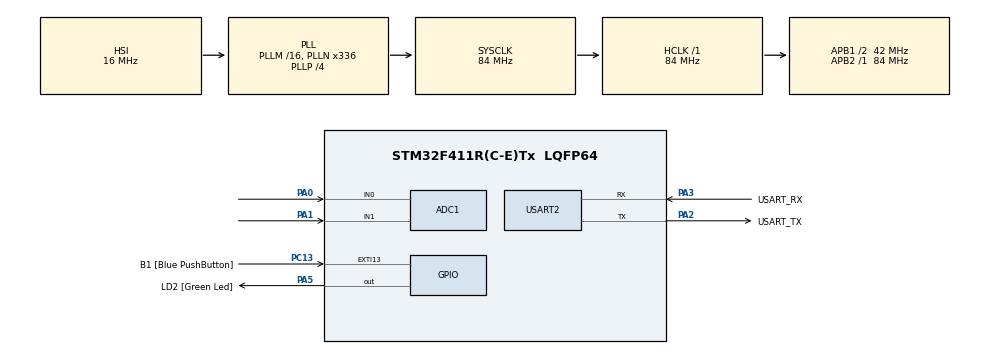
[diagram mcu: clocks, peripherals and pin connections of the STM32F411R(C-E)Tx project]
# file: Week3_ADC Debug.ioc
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ADC1.Channel-0\#ChannelRegularConversion=ADC_CHANNEL_1
ADC1.NbrOfConversionFlag=1
ADC1.Rank-0\#ChannelRegularConversion=1
ADC1.SamplingTime-0\#ChannelRegularConversion=ADC_SAMPLETIME_3CYCLES
ADC1.master=1
Mcu.Family=STM32F4
Mcu.Name=STM32F411R(C-E)Tx
Mcu.Package=LQFP64
NVIC.PriorityGroup=NVIC_PRIORITYGROUP_0
PA0-WKUP.Signal=ADCx_IN0
PA1.Signal=ADCx_IN1
PA13.GPIO_Label=TMS
PA13.Mode=Serial_Wire
PA13.Signal=SYS_JTMS-SWDIO
PA14.GPIO_Label=TCK
PA14.Mode=Serial_Wire
PA14.Signal=SYS_JTCK-SWCLK
PA2.GPIO_Label=USART_TX
PA2.Mode=Asynchronous
PA2.Signal=USART2_TX
PA3.GPIO_Label=USART_RX
PA3.Mode=Asynchronous
PA3.Signal=USART2_RX
PA5.GPIO_Label=LD2 [Green Led]
PA5.Signal=GPIO_Output
PB3.GPIO_Label=SWO
PB3.Signal=SYS_JTDO-SWO
PC13-ANTI_TAMP.GPIO_Label=B1 [Blue PushButton]
PC13-ANTI_TAMP.GPIO_ModeDefaultEXTI=GPIO_MODE_IT_FALLING
PC13-ANTI_TAMP.Signal=GPXTI13
PC14-OSC32_IN.Mode=LSE-External-Oscillator
PC14-OSC32_IN.Signal=RCC_OSC32_IN
PC15-OSC32_OUT.Mode=LSE-External-Oscillator
PC15-OSC32_OUT.Signal=RCC_OSC32_OUT
PH0\ -\ OSC_IN.Mode=HSE-External-Clock-Source
PH0\ -\ OSC_IN.Signal=RCC_OSC_IN
PH1\ -\ OSC_OUT.Mode=HSE-External-Clock-Source
PH1\ -\ OSC_OUT.Signal=RCC_OSC_OUT
ProjectManager.HeapSize=0x200
ProjectManager.StackSize=0x400
ProjectManager.TargetToolchain=STM32CubeIDE
RCC.48MHZClocksFreq_Value=84000000
RCC.AHBFreq_Value=84000000
RCC.APB1CLKDivider=RCC_HCLK_DIV2
RCC.APB1Freq_Value=42000000
RCC.APB1TimFreq_Value=84000000
RCC.APB2Freq_Value=84000000
RCC.APB2TimFreq_Value=84000000
RCC.CortexFreq_Value=84000000
RCC.FLatency-AdvancedSettings=FLASH_LATENCY_2
RCC.HCLKFreq_Value=84000000
RCC.HSE_VALUE=8000000
RCC.HSI_VALUE=16000000
RCC.PLLN=336
RCC.PLLP=RCC_PLLP_DIV4
RCC.SYSCLKFreq_VALUE=84000000
RCC.SYSCLKSource=RCC_SYSCLKSOURCE_PLLCLK
RCC.VCOOutputFreq_Value=336000000
SH.ADCx_IN0.0=ADC1_IN0,IN0
SH.ADCx_IN1.0=ADC1_IN1,IN1
USART2.VirtualMode=VM_ASYNC
VP_ADC1_TempSens_Input.Mode=IN-TempSens
board=NUCLEO-F411RE

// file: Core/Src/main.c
/* USER CODE BEGIN Header */
/**
 ******************************************************************************
 * @file           : main.c
 * @brief          : Main program body
 ******************************************************************************
 * @attention
 *
 * <h2><center>&copy; Copyright (c) 2021 STMicroelectronics.
 * All rights reserved.</center></h2>
 *
 * This software component is licensed by ST under BSD 3-Clause license,
 * the "License"; You may not use this file except in compliance with the
 * License. You may obtain a copy of the License at:
 *                        opensource.org/licenses/BSD-3-Clause
 *
 ******************************************************************************
 */
/* USER CODE END Header */
#include "main.h"

ADC_HandleTypeDef hadc1;

UART_HandleTypeDef huart2;

/* USER CODE BEGIN PV */

typedef struct {
	ADC_ChannelConfTypeDef Config;
	uint32_t Data;
} ADCStructure;

ADCStructure ADCChannel[3] = {0};

///////////////
uint8_t ADCMode = 0;
uint16_t StateButton[2] = {0};
uint32_t TimeStamp = 0;
float ADCOutputConverted = 0;

////////////////

/* USER CODE END PV */

void SystemClock_Config(void);
static void MX_GPIO_Init(void);
static void MX_USART2_UART_Init(void);
static void MX_ADC1_Init(void);
/* USER CODE BEGIN PFP */
void ACDPollingMethodInit();	// init
void ADCPollingMethodUpdate();  // Read ADC From 3 Source(In0,In1,Tmp)
/* USER CODE END PFP */

int main(void) {

	/* MCU Configuration--------------------------------------------------------*/

	/* Reset of all peripherals, Initializes the Flash interface and the Systick. */
	HAL_Init();

	/* Configure the system clock */
	SystemClock_Config();

	/* Initialize all configured peripherals */
	MX_GPIO_Init();
	MX_USART2_UART_Init();
	MX_ADC1_Init();

	/* Infinite loop */
	while (1) {

		/* USER CODE BEGIN 3 */
		ADCPollingMethodUpdate();
		if (HAL_GetTick() - TimeStamp >= 40) {
			TimeStamp = HAL_GetTick();
			StateButton[0] = HAL_GPIO_ReadPin(GPIOC, GPIO_PIN_13);

			if (StateButton[0] == 0 && StateButton[1] == 1) {
				if (ADCMode == 0) {
					ADCMode = 1;
				} else {
					ADCMode = 0;
				}
			}
			StateButton[1] = StateButton[0];
		}
		if (ADCMode == 0) {

		/*	2^bit , bit = 12 , 2^12 == 4096  float-> 4096.0
			Read Voltage = ADC read          *  Vref / 2^bit */

			ADCOutputConverted = ADCChannel[0].Data * (3.3 / 4096.0) * 1000;
		} else if (ADCMode == 1) {

		/*	from DataSheet stm32f411re -> Avg_Slope = 2.5 mV -> 0.0025V ; V25(Voltage at 25 °C) = 0.76 V
			ADC read Temperature  change Voltage => ADC read * Vref /2^bit
 	 		Temperature(°C) = ((ADC read(V) - V25)/Avg_Slope)+25 */

			ADCOutputConverted = (((ADCChannel[2].Data * (3.3 / 4096.0)) - 0.76)/ 0.0025) + 25;
		}
	}
	/* USER CODE END 3 */
}

void SystemClock_Config(void) {
	RCC_OscInitTypeDef RCC_OscInitStruct = { 0 };
	RCC_ClkInitTypeDef RCC_ClkInitStruct = { 0 };

	/** Configure the main internal regulator output voltage
	 */
	__HAL_RCC_PWR_CLK_ENABLE();
	__HAL_PWR_VOLTAGESCALING_CONFIG(PWR_REGULATOR_VOLTAGE_SCALE1);
	/** Initializes the RCC Oscillators according to the specified parameters
	 * in the RCC_OscInitTypeDef structure.
	 */
	RCC_OscInitStruct.OscillatorType = RCC_OSCILLATORTYPE_HSI;
	RCC_OscInitStruct.HSIState = RCC_HSI_ON;
	RCC_OscInitStruct.HSICalibrationValue = RCC_HSICALIBRATION_DEFAULT;
	RCC_OscInitStruct.PLL.PLLState = RCC_PLL_ON;
	RCC_OscInitStruct.PLL.PLLSource = RCC_PLLSOURCE_HSI;
	RCC_OscInitStruct.PLL.PLLM = 16;
	RCC_OscInitStruct.PLL.PLLN = 336;
	RCC_OscInitStruct.PLL.PLLP = RCC_PLLP_DIV4;
	RCC_OscInitStruct.PLL.PLLQ = 4;
	if (HAL_RCC_OscConfig(&RCC_OscInitStruct) != HAL_OK) {
		Error_Handler();
	}
	/** Initializes the CPU, AHB and APB buses clocks
	 */
	RCC_ClkInitStruct.ClockType = RCC_CLOCKTYPE_HCLK | RCC_CLOCKTYPE_SYSCLK
			| RCC_CLOCKTYPE_PCLK1 | RCC_CLOCKTYPE_PCLK2;
	RCC_ClkInitStruct.SYSCLKSource = RCC_SYSCLKSOURCE_PLLCLK;
	RCC_ClkInitStruct.AHBCLKDivider = RCC_SYSCLK_DIV1;
	RCC_ClkInitStruct.APB1CLKDivider = RCC_HCLK_DIV2;
	RCC_ClkInitStruct.APB2CLKDivider = RCC_HCLK_DIV1;

	if (HAL_RCC_ClockConfig(&RCC_ClkInitStruct, FLASH_LATENCY_2) != HAL_OK) {
		Error_Handler();
	}
}

static void MX_ADC1_Init(void) {

	ADC_ChannelConfTypeDef sConfig = { 0 };

	/** Configure the global features of the ADC (Clock, Resolution, Data Alignment and number of conversion)
	 */
	hadc1.Instance = ADC1;
	hadc1.Init.ClockPrescaler = ADC_CLOCK_SYNC_PCLK_DIV4;
	hadc1.Init.Resolution = ADC_RESOLUTION_12B;
	hadc1.Init.ScanConvMode = DISABLE;
	hadc1.Init.ContinuousConvMode = DISABLE;
	hadc1.Init.DiscontinuousConvMode = DISABLE;
	hadc1.Init.ExternalTrigConvEdge = ADC_EXTERNALTRIGCONVEDGE_NONE;
	hadc1.Init.ExternalTrigConv = ADC_SOFTWARE_START;
	hadc1.Init.DataAlign = ADC_DATAALIGN_RIGHT;
	hadc1.Init.NbrOfConversion = 1;
	hadc1.Init.DMAContinuousRequests = DISABLE;
	hadc1.Init.EOCSelection = ADC_EOC_SINGLE_CONV;
	if (HAL_ADC_Init(&hadc1) != HAL_OK) {
		Error_Handler();
	}
	/** Configure for the selected ADC regular channel its corresponding rank in the sequencer and its sample time.
	 */
	sConfig.Channel = ADC_CHANNEL_1;
	sConfig.Rank = 1;
	sConfig.SamplingTime = ADC_SAMPLETIME_3CYCLES;
	if (HAL_ADC_ConfigChannel(&hadc1, &sConfig) != HAL_OK) {
		Error_Handler();
	}

}

static void MX_USART2_UART_Init(void) {

	huart2.Instance = USART2;
	huart2.Init.BaudRate = 115200;
	huart2.Init.WordLength = UART_WORDLENGTH_8B;
	huart2.Init.StopBits = UART_STOPBITS_1;
	huart2.Init.Parity = UART_PARITY_NONE;
	huart2.Init.Mode = UART_MODE_TX_RX;
	huart2.Init.HwFlowCtl = UART_HWCONTROL_NONE;
	huart2.Init.OverSampling = UART_OVERSAMPLING_16;
	if (HAL_UART_Init(&huart2) != HAL_OK) {
		Error_Handler();
	}

}

static void MX_GPIO_Init(void) {
	GPIO_InitTypeDef GPIO_InitStruct = { 0 };

	/* GPIO Ports Clock Enable */
	__HAL_RCC_GPIOC_CLK_ENABLE();
	__HAL_RCC_GPIOH_CLK_ENABLE();
	__HAL_RCC_GPIOA_CLK_ENABLE();
	__HAL_RCC_GPIOB_CLK_ENABLE();

	/*Configure GPIO pin Output Level */
	HAL_GPIO_WritePin(LD2_GPIO_Port, LD2_Pin, GPIO_PIN_RESET);

	/*Configure GPIO pin : B1_Pin */
	GPIO_InitStruct.Pin = B1_Pin;
	GPIO_InitStruct.Mode = GPIO_MODE_IT_FALLING;
	GPIO_InitStruct.Pull = GPIO_NOPULL;
	HAL_GPIO_Init(B1_GPIO_Port, &GPIO_InitStruct);

	/*Configure GPIO pin : LD2_Pin */
	GPIO_InitStruct.Pin = LD2_Pin;
	GPIO_InitStruct.Mode = GPIO_MODE_OUTPUT_PP;
	GPIO_InitStruct.Pull = GPIO_NOPULL;
	GPIO_InitStruct.Speed = GPIO_SPEED_FREQ_LOW;
	HAL_GPIO_Init(LD2_GPIO_Port, &GPIO_InitStruct);

}

/* USER CODE BEGIN 4 */
void ACDPollingMethodInit() {
	// PA0 - ADC IN0
	ADCChannel[0].Config.Channel = ADC_CHANNEL_0;
	ADCChannel[0].Config.Rank = 1;
	ADCChannel[0].Config.SamplingTime = ADC_SAMPLETIME_3CYCLES;

	// PA1 - ADC IN1
	ADCChannel[1].Config.Channel = ADC_CHANNEL_1;
	ADCChannel[1].Config.Rank = 1;
	ADCChannel[1].Config.SamplingTime = ADC_SAMPLETIME_3CYCLES;

	// Temp
	ADCChannel[2].Config.Channel = ADC_CHANNEL_TEMPSENSOR;
	ADCChannel[2].Config.Rank = 1;
	ADCChannel[2].Config.SamplingTime = ADC_SAMPLETIME_3CYCLES;

}

void ADCPollingMethodUpdate() {

	for (int i = 0; i < 3; i++) {
		//select channel
		HAL_ADC_ConfigChannel(&hadc1, &ADCChannel[i].Config);
		//ADC Sampling , Convert
		HAL_ADC_Start(&hadc1);
		//Wait ADC
		if (HAL_ADC_PollForConversion(&hadc1, 10) == HAL_OK) {

			//Get Value
			ADCChannel[i].Data = HAL_ADC_GetValue(&hadc1);
		}
		//Stop
		HAL_ADC_Stop(&hadc1);

	}
}
/* USER CODE END 4 */

void Error_Handler(void) {
	__disable_irq();
	while (1) {
	}
}

/************************ (C) COPYRIGHT STMicroelectronics *****END OF FILE****/
